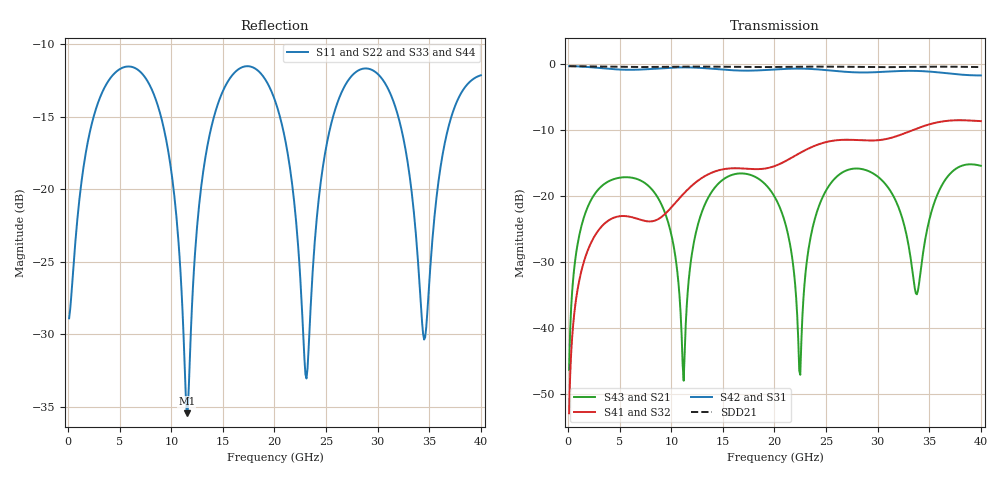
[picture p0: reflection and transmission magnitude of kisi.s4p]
! thru_BV_ts_m2_per0_in: 2×thru F.Cu, 8 mm, pair
! stackup: as the board case
! ports: 1 near, 2 near, 3 far, 4 far
! kisi-fdtd, conformal, dfine 0.035 mm, 403200 cells
# Hz S RI R 50
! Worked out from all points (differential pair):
!   400 points, 100 MHz to 40 GHz, reference 50 ohm
!   strongest paths, dB at 100 MHz, 10.1 GHz, 20.1 GHz, 30.1 GHz, 40 GHz:
!     S42: -0.3, -0.5, -0.8, -1.2, -1.7
!     S31: -0.3, -0.5, -0.8, -1.2, -1.7
!     S41: -53.0, -21.6, -15.4, -11.5, -8.6
!     S32: -53.0, -21.6, -15.4, -11.5, -8.6
!     S43: -46.4, -26.5, -20.4, -17.2, -15.4
!     S21: -46.4, -26.5, -20.4, -17.2, -15.4
!   taken as a pair (ports 2,1 in; 4,3 out), SDD21 dB: -0.3, -0.4, -0.4, -0.5, -0.4
!   lowest |S11| = -35.5 dB at 11.5 GHz (marker M1), VSWR 1.03, Z = 51.7 - j0.223 ohm
!   |S11| at or under -10 dB: start of sweep to end of sweep
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1e8  -0.0347 0.00909  8.72e-06 0.00481  0.9653 -0.0274  0.000563 -0.00218
     8.72e-06 0.00481  -0.0347 0.00909  0.000563 -0.00218  0.9653 -0.0274
     0.9653 -0.0274  0.000563 -0.00218  -0.0347 0.00909  8.72e-06 0.00481
     0.000563 -0.00218  0.9653 -0.0274  8.72e-06 0.00481  -0.0347 0.00909
3.9e9  0.1966 0.1303  0.1203 0.0464  0.4413 -0.8103  -0.0651 0.000948
       0.1203 0.0464  0.1966 0.1303  -0.0651 0.000948  0.4413 -0.8103
       0.4413 -0.8103  -0.0651 0.000948  0.1966 0.1303  0.1203 0.0464
       -0.0651 0.000948  0.4413 -0.8103  0.1203 0.0464  0.1966 0.1303
1.15e10  0.0167 -0.00216  0.0058 0.0136  -0.9434 -0.0599  -0.000134 0.1103
         0.0058 0.0136  0.0167 -0.00216  -0.000134 0.1103  -0.9434 -0.0599
         -0.9434 -0.0599  -0.000134 0.1103  0.0167 -0.00216  0.0058 0.0136
         -0.000134 0.1103  -0.9434 -0.0599  0.0058 0.0136  0.0167 -0.00216
1.7e10  0.2631 0.0245  0.1465 -0.0223  -0.144 0.8816  0.1605 -0.02
        0.1465 -0.0223  0.2631 0.0245  0.1605 -0.02  -0.144 0.8816
        -0.144 0.8816  0.1605 -0.02  0.2631 0.0245  0.1465 -0.0223
        0.1605 -0.02  -0.144 0.8816  0.1465 -0.0223  0.2631 0.0245
2.3e10  0.0222 -0.00607  0.00232 0.0256  0.9173 0.1069  0.0182 -0.2225
        0.00232 0.0256  0.0222 -0.00607  0.0182 -0.2225  0.9173 0.1069
        0.9173 0.1069  0.0182 -0.2225  0.0222 -0.00607  0.00232 0.0256
        0.0182 -0.2225  0.9173 0.1069  0.00232 0.0256  0.0222 -0.00607
3.01e10  0.2351 -0.0779  0.1022 -0.0935  -0.1734 -0.854  -0.2487 0.0923
         0.1022 -0.0935  0.2351 -0.0779  -0.2487 0.0923  -0.1734 -0.854
         -0.1734 -0.854  -0.2487 0.0923  0.2351 -0.0779  0.1022 -0.0935
         -0.2487 0.0923  -0.1734 -0.854  0.1022 -0.0935  0.2351 -0.0779
4e10  0.2469 -0.00118  0.1541 -0.0706  -0.2002 0.7968  0.3684 0.0348
      0.1541 -0.0706  0.2469 -0.00118  0.3684 0.0348  -0.2002 0.7968
      -0.2002 0.7968  0.3684 0.0348  0.2469 -0.00118  0.1541 -0.0706
      0.3684 0.0348  -0.2002 0.7968  0.1541 -0.0706  0.2469 -0.00118
